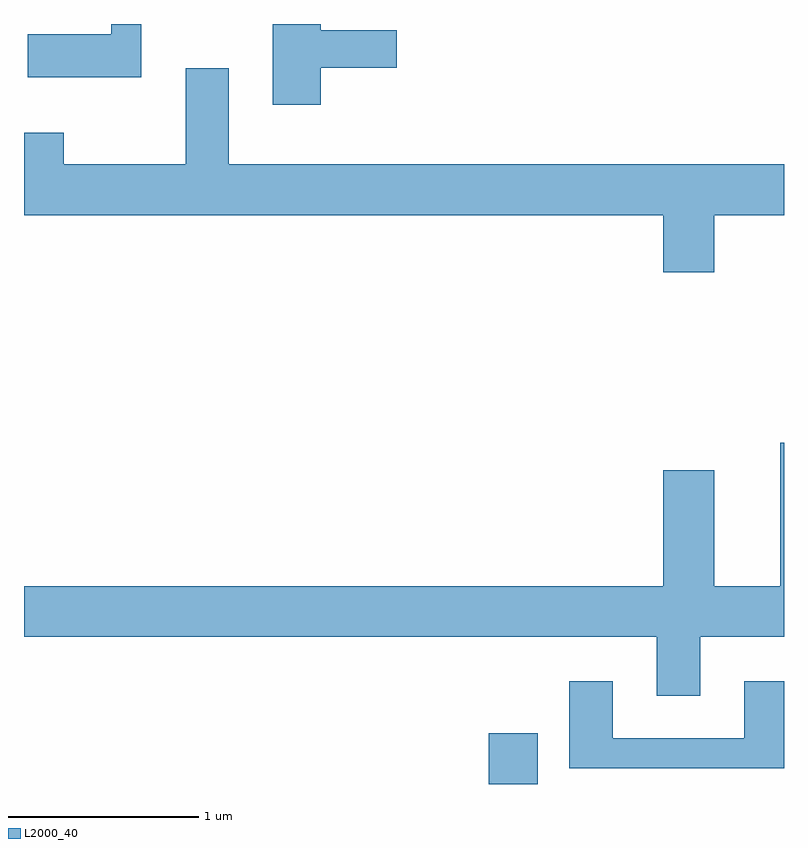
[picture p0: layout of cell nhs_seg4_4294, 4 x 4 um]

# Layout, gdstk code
import gdstk
lib = gdstk.Library(unit=1e-6, precision=1e-09)
def R(c, l, rs):  # rectangles x0, y0, x1, y1
    for r in rs: c.add(gdstk.rectangle(r[:2], r[2:], *l))
def P(c, l, *ps):  # polygons
    for p in ps: c.add(gdstk.Polygon(p, *l))
L2000_40 = (2000, 40)

nhs_seg4_4294 = lib.new_cell('nhs_seg4_4294')
R(nhs_seg4_4294, L2000_40, [(314.056,1273.982,314.314,1274.249)])
P(nhs_seg4_4294, L2000_40, [(312.229,1277.982),(312.071,1277.982),(312.071,1277.929),(311.631,1277.929),(311.631,1277.701),(312.229,1277.701)],
  [(313.174,1277.751),(313.574,1277.751),(313.574,1277.949),(313.174,1277.949),(313.174,1277.982),(312.921,1277.982),(312.921,1277.556),(313.174,1277.556)],
  [(315.244,1276.976),(315.611,1276.976),(315.611,1277.244),(312.689,1277.244),(312.689,1277.749),(312.461,1277.749),(312.461,1277.244),(311.819,1277.244),(311.819,1277.409),(311.611,1277.409),(311.611,1276.976),(314.976,1276.976),(314.976,1276.676),(315.244,1276.676)],
  [(315.169,1274.756),(315.611,1274.756),(315.611,1275.779),(315.591,1275.779),(315.591,1275.024),(315.244,1275.024),(315.244,1275.634),(314.976,1275.634),(314.976,1275.024),(311.611,1275.024),(311.611,1274.756),(314.941,1274.756),(314.941,1274.446),(315.169,1274.446)],
  [(315.611,1274.524),(315.401,1274.524),(315.401,1274.224),(314.709,1274.224),(314.709,1274.524),(314.481,1274.524),(314.481,1274.066),(315.611,1274.066)])

lib.write_gds('nhs_seg4_4294.gds')
